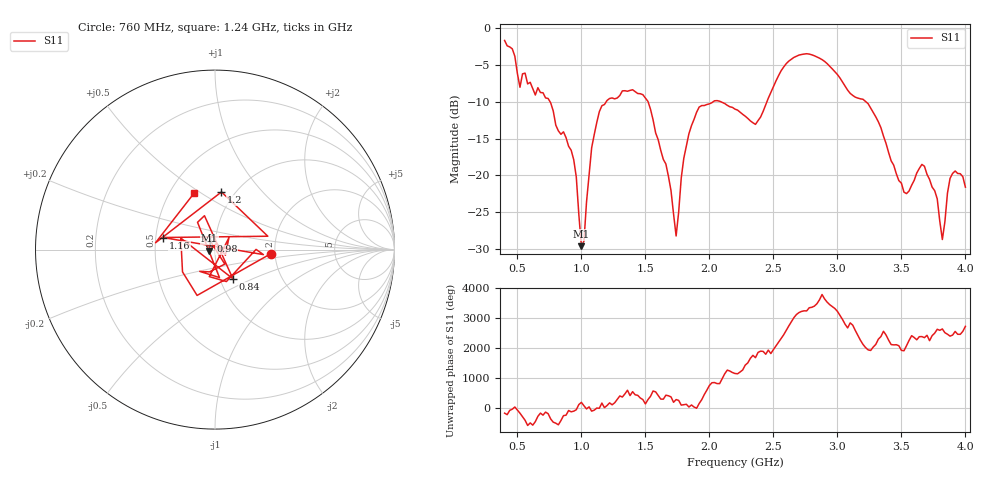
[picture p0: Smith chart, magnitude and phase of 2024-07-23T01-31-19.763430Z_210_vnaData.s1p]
!Created with skrf (http://scikit-rf.org).
# Hz S RI R 50.0
!freq ReS11 ImS11
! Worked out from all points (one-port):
!   181 points, 400 MHz to 4 GHz, reference 50 ohm
!   lowest |S11| = -29.6 dB at 1 GHz (marker M1), VSWR 1.07, Z = 46.9 - j0.544 ohm
!   |S11| at or under -10 dB: 755.6 MHz to 1.193 GHz (437.5 MHz wide, 44.9 % of centre); 1.521 GHz to 2.028 GHz (506.8 MHz wide, 28.6 % of centre); 3.223 GHz to end of sweep (the widest 3 of 4)
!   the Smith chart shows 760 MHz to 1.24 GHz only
!   S11 on the Smith chart (normalised r, x): 760 MHz: 1.90, -0.10; 840 MHz: 1.15, -0.39; 980 MHz: 0.95, +0.09; 1.16 GHz: 0.55, +0.08; 1.2 GHz: 0.87, +0.62; 1.24 GHz: 0.66, +0.47
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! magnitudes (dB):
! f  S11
! 400 MHz  -1.6
! 520 MHz  -8.0
! 760 MHz  -10.1
! 840 MHz  -14.4
! 860 MHz  -14.1
! 940 MHz  -17.9
! 980 MHz  -25.3
! 1 GHz  -29.6
! 1.08 GHz  -16.3
! 1.16 GHz  -10.5
! 1.2 GHz  -9.8
! 1.24 GHz  -9.5
! 1.3 GHz  -9.1
! 1.52 GHz  -9.9
! 1.66 GHz  -18.5
! 1.74 GHz  -28.3
! 1.76 GHz  -25.0
! 1.8 GHz  -17.7
! 1.92 GHz  -10.7
! 2.2 GHz  -11.0
! 2.36 GHz  -13.1
! 2.66 GHz  -3.9
! 3.1 GHz  -8.8
! 3.56 GHz  -22.1
! 3.68 GHz  -18.8
! 3.82 GHz  -28.7
! 3.88 GHz  -20.4
! 4 GHz  -21.6
